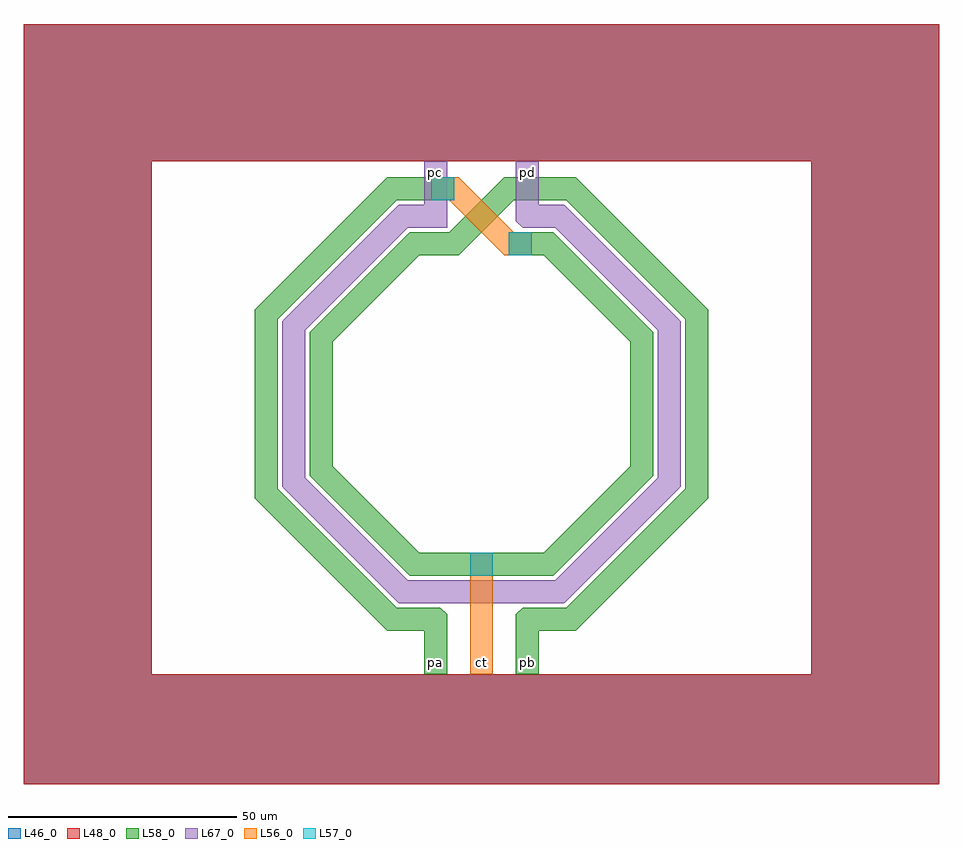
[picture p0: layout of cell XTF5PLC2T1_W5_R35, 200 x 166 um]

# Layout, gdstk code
import gdstk
lib = gdstk.Library(unit=1e-6, precision=1e-09)
def R(c, l, rs):  # rectangles x0, y0, x1, y1
    for r in rs: c.add(gdstk.rectangle(r[:2], r[2:], *l))
def P(c, l, *ps):  # polygons
    for p in ps: c.add(gdstk.Polygon(p, *l))
L46_0 = (46, 0)
L48_0 = (48, 0)
L56_0 = (56, 0)
L57_0 = (57, 0)
L58_0 = (58, 0)
L67_0 = (67, 0)

xtf5plc2t1_w5_r35 = lib.new_cell('XTF5PLC2T1_W5_R35')
P(xtf5plc2t1_w5_r35, L46_0, [(100,-83),(-100,-83),(-100,83),(72,83),(72,53),(-72,53),(-72,-59),(72,-59),(72,83),(100,83)])
P(xtf5plc2t1_w5_r35, L48_0, [(100,-83),(-100,-83),(-100,83),(72,83),(72,53),(-72,53),(-72,-59),(72,-59),(72,83),(100,83)])
R(xtf5plc2t1_w5_r35, L56_0, [(-2.5,-59,2.5,-32.5), (-2.5,-59,2.5,-54)])
P(xtf5plc2t1_w5_r35, L56_0, [(11,32.5),(4.965,32.5),(-7.035,44.5),(-11,44.5),(-11,49.5),(-4.965,49.5),(7.035,37.5),(11,37.5)])
R(xtf5plc2t1_w5_r35, L57_0, [(-2.5,-37.5,2.5,-32.5), (6,32.5,11,37.5), (-11,44.5,-6,49.5)])
R(xtf5plc2t1_w5_r35, L58_0, [(-12.5,-59,-7.5,-54), (7.5,-59,12.5,-54)])
P(xtf5plc2t1_w5_r35, L58_0, [(-6,44.5),(-18.555,44.5),(-44.5,18.555),(-44.5,-18.555),(-18.555,-44.5),(-8.965,-44.5),(-7.5,-45.965),(-7.5,-59),(-12.5,-59),(-12.5,-49.5),(-20.625,-49.5),(-49.5,-20.625),(-49.5,20.625),(-20.625,49.5),(-6,49.5)],
  [(49.5,-20.625),(20.625,-49.5),(12.5,-49.5),(12.5,-59),(7.5,-59),(7.5,-45.965),(8.965,-44.5),(18.555,-44.5),(44.5,-18.555),(44.5,18.555),(18.555,44.5),(7.035,44.5),(-4.965,32.5),(-13.555,32.5),(-32.5,13.555),(-32.5,-13.555),(-13.555,-32.5),(13.555,-32.5),(32.5,-13.555),(32.5,13.555),(13.555,32.5),(6,32.5),(6,37.5),(15.625,37.5),(37.5,15.625),(37.5,-15.625),(15.625,-37.5),(-15.625,-37.5),(-37.5,-15.625),(-37.5,15.625),(-15.625,37.5),(-7.035,37.5),(4.965,49.5),(20.625,49.5),(49.5,20.625)])
R(xtf5plc2t1_w5_r35, L67_0, [(-12.5,48,-7.5,53), (7.5,48,12.5,53)])
P(xtf5plc2t1_w5_r35, L67_0, [(43.5,-18.125),(18.125,-43.5),(-18.125,-43.5),(-43.5,-18.125),(-43.5,18.125),(-18.125,43.5),(-12.5,43.5),(-12.5,53),(-7.5,53),(-7.5,38.5),(-16.055,38.5),(-38.5,16.055),(-38.5,-16.055),(-16.055,-38.5),(16.055,-38.5),(38.5,-16.055),(38.5,16.055),(16.055,38.5),(8.965,38.5),(7.5,39.965),(7.5,53),(12.5,53),(12.5,43.5),(18.125,43.5),(43.5,18.125)])
xtf5plc2t1_w5_r35.add(gdstk.Label('pb', (10,-56.5), layer=58, texttype=0))
xtf5plc2t1_w5_r35.add(gdstk.Label('pa', (-10,-56.5), layer=58, texttype=0))
xtf5plc2t1_w5_r35.add(gdstk.Label('pd', (10,50.5), layer=67, texttype=0))
xtf5plc2t1_w5_r35.add(gdstk.Label('pc', (-10,50.5), layer=67, texttype=0))
xtf5plc2t1_w5_r35.add(gdstk.Label('ct', (0,-56.5), layer=56, texttype=0))

lib.write_gds('XTF5PLC2T1_W5_R35.gds')
